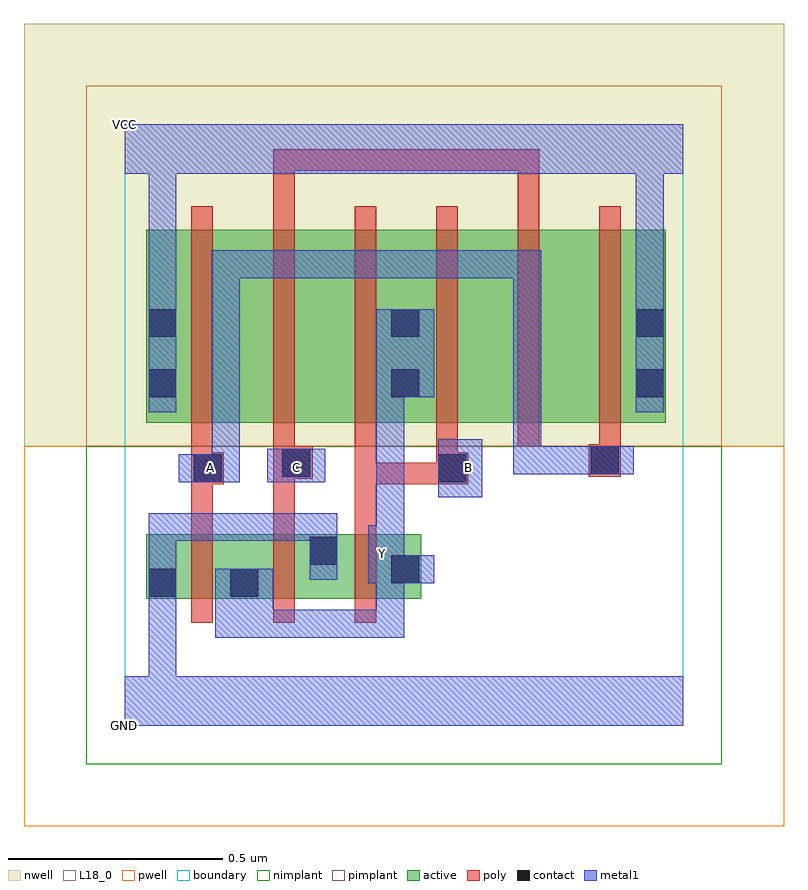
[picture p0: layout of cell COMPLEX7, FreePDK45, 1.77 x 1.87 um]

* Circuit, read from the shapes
.subckt COMPLEX7 A B C GND VCC Y
M1 Y A GND VSUBS nfet w=0.15u l=0.05u
M2 GND C Y VSUBS nfet w=0.15u l=0.05u
M3 Y B GND VSUBS nfet w=0.15u l=0.05u
M4 n1 A VCC n2 pfet w=0.45u l=0.05u
M5 n3 C n1 n2 pfet w=0.45u l=0.05u
M6 Y B n3 n2 pfet w=0.45u l=0.05u
M7 n4 B Y n2 pfet w=0.45u l=0.05u
M8 n5 C n4 n2 pfet w=0.45u l=0.05u
M9 VCC A n5 n2 pfet w=0.45u l=0.05u
.ends

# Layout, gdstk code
import gdstk
lib = gdstk.Library(unit=1e-6, precision=1e-09)
def R(c, l, rs):  # rectangles x0, y0, x1, y1
    for r in rs: c.add(gdstk.rectangle(r[:2], r[2:], *l))
def A(c, l, x, y, w, h, nx, ny, dx, dy):  # array of equal rectangles
    R(c, l, [(x+i*dx, y+j*dy, x+i*dx+w, y+j*dy+h) for i in range(nx) for j in range(ny)])
active = (1, 0)
pwell = (2, 0)
nwell = (3, 0)
nimplant = (4, 0)
pimplant = (5, 0)
poly = (9, 0)
contact = (10, 0)
metal1 = (11, 0)
L18_0 = (18, 0)
boundary = (235, 0)

complex7 = lib.new_cell('COMPLEX7')
R(complex7, active, [(0.05,0.295,0.125,0.445), (0.05,0.295,0.315,0.445), (0.24,0.295,0.315,0.445), (0.24,0.295,0.5,0.445), (0.425,0.295,0.69,0.445), (0.615,0.295,0.69,0.445), (0.425,0.33,0.5,0.445), (0.05,0.705,0.125,1.155), (0.05,0.705,0.275,1.155), (0.275,0.705,0.465,1.155), (0.465,0.705,0.69,1.155), (0.615,0.705,0.845,1.155), (0.615,0.705,0.69,1.07), (0.845,0.705,1.035,1.155), (1.035,0.705,1.26,1.155), (1.185,0.705,1.26,1.155)])
R(complex7, pwell, [(-0.235,-0.235,1.535,0.65)])
R(complex7, nwell, [(-0.235,0.65,1.535,1.635)])
R(complex7, nimplant, [(-0.09,-0.09,1.39,0.65)])
R(complex7, pimplant, [(-0.09,0.65,1.39,1.49)])
A(complex7, poly, 0.155, 0.24, 0.05, 0.26, 3, 1, 0.19, 0)
A(complex7, poly, 0.155, 0.65, 0.05, 0.56, 6, 1, 0.19, 0)
R(complex7, poly, [(0.155,0.45,0.205,0.612), (0.345,0.45,0.395,0.625), (0.535,0.45,0.585,0.612), (0.155,0.562,0.23,0.637), (0.535,0.562,0.585,0.612), (0.535,0.562,0.775,0.612), (0.535,0.562,0.585,0.7), (0.725,0.562,0.8,0.637), (0.725,0.562,0.775,0.612), (0.725,0.562,0.775,0.612), (0.345,0.575,0.437,0.65), (1.08,0.58,1.155,0.655), (0.155,0.587,0.205,0.7), (0.725,0.587,0.775,0.7), (0.345,0.6,0.395,0.7), (1.105,0.605,1.155,0.7), (0.345,1.16,0.395,1.342), (0.915,1.16,0.965,1.342), (0.345,1.292,0.395,1.342), (0.345,1.292,0.395,1.342), (0.345,1.292,0.395,1.342), (0.345,1.292,0.642,1.342), (0.592,1.292,0.642,1.342), (0.592,1.292,0.642,1.342), (0.592,1.292,0.642,1.342), (0.592,1.292,0.775,1.342), (0.725,1.292,0.775,1.342), (0.725,1.292,0.965,1.342), (0.915,1.292,0.965,1.342), (0.915,1.292,0.965,1.342), (0.915,1.292,0.965,1.342)])
R(complex7, contact, [(0.055,0.3,0.12,0.365), (0.245,0.3,0.31,0.365), (0.62,0.332,0.685,0.397), (0.43,0.375,0.495,0.44), (0.16,0.567,0.225,0.632), (0.73,0.567,0.795,0.632), (0.367,0.58,0.432,0.645), (1.085,0.585,1.15,0.65), (0.055,0.765,0.12,0.83), (0.62,0.765,0.685,0.83), (1.19,0.765,1.255,0.83), (0.055,0.905,0.12,0.97), (0.62,0.905,0.685,0.97), (1.19,0.905,1.255,0.97)])
R(complex7, metal1, [(0,0,1.3,0.115), (0.055,0.05,0.12,0.115), (0.055,0.05,0.12,0.115), (0.055,0.05,0.12,0.33), (0.21,0.205,0.345,0.365), (0.28,0.205,0.482,0.27), (0.417,0.205,0.482,0.27), (0.417,0.205,0.482,0.27), (0.417,0.205,0.482,0.27), (0.417,0.205,0.65,0.27), (0.585,0.205,0.65,0.27), (0.585,0.205,0.65,0.27), (0.585,0.205,0.65,0.27), (0.585,0.205,0.65,0.397), (0.055,0.265,0.12,0.33), (0.055,0.265,0.12,0.33), (0.055,0.265,0.12,0.4), (0.567,0.332,0.65,0.467), (0.585,0.332,0.65,0.397), (0.585,0.332,0.72,0.397), (0.055,0.335,0.12,0.495), (0.43,0.34,0.495,0.475), (0.585,0.402,0.65,0.83), (0.43,0.41,0.495,0.475), (0.43,0.41,0.495,0.495), (0.055,0.43,0.12,0.495), (0.055,0.43,0.12,0.495), (0.055,0.43,0.12,0.495), (0.055,0.43,0.257,0.495), (0.192,0.43,0.257,0.495), (0.192,0.43,0.495,0.495), (0.73,0.532,0.832,0.667), (0.125,0.567,0.267,0.632), (0.202,0.567,0.267,0.632), (0.202,0.567,0.267,0.632), (0.202,0.567,0.267,1.107), (0.332,0.567,0.467,0.645), (0.905,0.585,0.97,0.65), (0.905,0.585,0.97,0.65), (0.905,0.585,0.97,0.65), (0.905,0.585,1.115,0.65), (0.905,0.585,0.97,1.107), (1.05,0.585,1.115,0.65), (1.05,0.585,1.115,0.65), (1.05,0.585,1.115,0.65), (1.05,0.585,1.115,0.65), (1.05,0.585,1.185,0.65), (0.055,0.73,0.12,1.005), (1.19,0.73,1.255,1.005), (0.585,0.765,0.72,0.97), (0.055,0.94,0.12,1.35), (1.19,0.94,1.255,1.35), (0.202,1.042,0.267,1.107), (0.202,1.042,0.495,1.107), (0.43,1.042,0.495,1.107), (0.43,1.042,0.495,1.107), (0.43,1.042,0.495,1.107), (0.43,1.042,0.495,1.107), (0.43,1.042,0.495,1.107), (0.43,1.042,0.657,1.107), (0.592,1.042,0.657,1.107), (0.592,1.042,0.832,1.107), (0.767,1.042,0.832,1.107), (0.767,1.042,0.832,1.107), (0.767,1.042,0.832,1.107), (0.767,1.042,0.97,1.107), (0.905,1.042,0.97,1.107), (0,1.285,1.3,1.4), (0.055,1.285,0.12,1.35), (0.055,1.285,0.12,1.35), (1.19,1.285,1.255,1.35), (1.19,1.285,1.255,1.35)])
R(complex7, L18_0, [(0,0,1.3,0.115), (0.055,0.05,0.12,0.115), (0.055,0.05,0.12,0.115), (0.055,0.05,0.12,0.33), (0.21,0.205,0.345,0.365), (0.28,0.205,0.482,0.27), (0.417,0.205,0.482,0.27), (0.417,0.205,0.482,0.27), (0.417,0.205,0.482,0.27), (0.417,0.205,0.65,0.27), (0.585,0.205,0.65,0.27), (0.585,0.205,0.65,0.27), (0.585,0.205,0.65,0.27), (0.585,0.205,0.65,0.397), (0.055,0.265,0.12,0.33), (0.055,0.265,0.12,0.33), (0.055,0.265,0.12,0.4), (0.567,0.332,0.65,0.467), (0.585,0.332,0.65,0.397), (0.585,0.332,0.72,0.397), (0.055,0.335,0.12,0.495), (0.43,0.34,0.495,0.475), (0.567,0.367,0.632,0.432), (0.585,0.402,0.65,0.83), (0.43,0.41,0.495,0.475), (0.43,0.41,0.495,0.495), (0.055,0.43,0.12,0.495), (0.055,0.43,0.12,0.495), (0.055,0.43,0.12,0.495), (0.055,0.43,0.257,0.495), (0.192,0.43,0.257,0.495), (0.192,0.43,0.495,0.495), (0.73,0.532,0.832,0.667), (0.125,0.567,0.267,0.632), (0.167,0.567,0.232,0.632), (0.202,0.567,0.267,0.632), (0.202,0.567,0.267,0.632), (0.202,0.567,0.267,1.107), (0.332,0.567,0.467,0.645), (0.367,0.567,0.432,0.632), (0.767,0.567,0.832,0.632), (0.905,0.585,0.97,0.65), (0.905,0.585,0.97,0.65), (0.905,0.585,0.97,0.65), (0.905,0.585,0.97,1.107), (0.905,0.585,1.115,0.65), (1.05,0.585,1.115,0.65), (1.05,0.585,1.115,0.65), (1.05,0.585,1.115,0.65), (1.05,0.585,1.115,0.65), (1.05,0.585,1.185,0.65), (0.055,0.73,0.12,1.005), (1.19,0.73,1.255,1.005), (0.585,0.765,0.72,0.97), (0.055,0.94,0.12,1.35), (1.19,0.94,1.255,1.35), (0.202,1.042,0.267,1.107), (0.202,1.042,0.495,1.107), (0.43,1.042,0.495,1.107), (0.43,1.042,0.495,1.107), (0.43,1.042,0.495,1.107), (0.43,1.042,0.495,1.107), (0.43,1.042,0.495,1.107), (0.43,1.042,0.657,1.107), (0.592,1.042,0.657,1.107), (0.592,1.042,0.832,1.107), (0.767,1.042,0.832,1.107), (0.767,1.042,0.832,1.107), (0.767,1.042,0.832,1.107), (0.767,1.042,0.97,1.107), (0.905,1.042,0.97,1.107), (0,1.285,1.3,1.4), (0.055,1.285,0.12,1.35), (0.055,1.285,0.12,1.35), (1.19,1.285,1.255,1.35), (1.19,1.285,1.255,1.35)])
R(complex7, boundary, [(0,0,1.3,1.4)])
complex7.add(gdstk.Label('A', (0.2,0.6), layer=11, texttype=0))
complex7.add(gdstk.Label('B', (0.8,0.6), layer=11, texttype=0))
complex7.add(gdstk.Label('C', (0.4,0.6), layer=11, texttype=0))
complex7.add(gdstk.Label('Y', (0.6,0.4), layer=11, texttype=0))
complex7.add(gdstk.Label('VCC', (0,1.4), layer=11, texttype=0))
complex7.add(gdstk.Label('GND', (0,0), layer=11, texttype=0))

lib.write_gds('COMPLEX7.gds')
